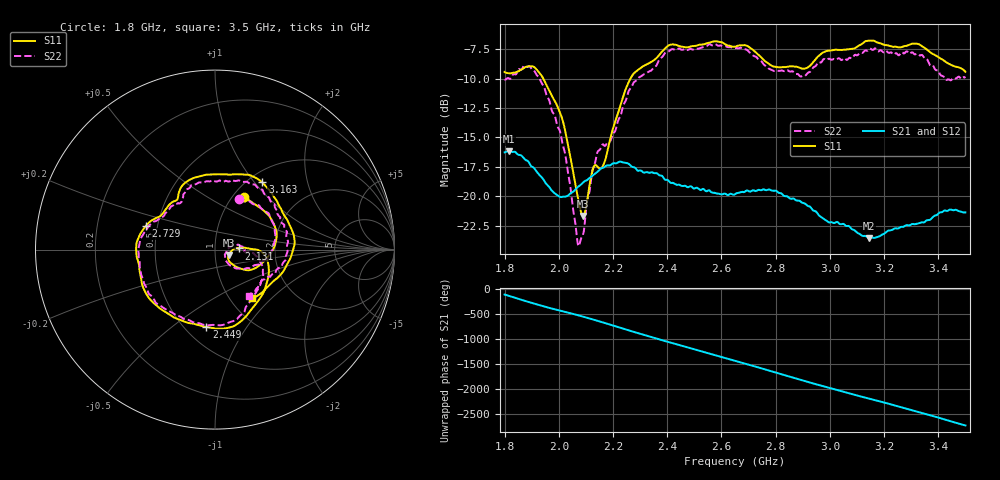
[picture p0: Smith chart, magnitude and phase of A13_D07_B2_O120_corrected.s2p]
! Created with skrf 1.9.0 (http://scikit-rf.org).
# Hz S RI R 50.0
!freq ReS11 ImS11 ReS21 ImS21 ReS12 ImS12 ReS22 ImS22
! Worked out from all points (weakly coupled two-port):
!   1601 points, 1.8 GHz to 3.5 GHz, reference 50 ohm
!   highest |S21| = -16.18 dB at 1.815 GHz (marker M1); lowest = -23.6 dB at 3.143 GHz (marker M2)
!   lowest |S11| = -21.7 dB at 2.09 GHz (marker M3), VSWR 1.18, Z = 58.2 - j3.45 ohm
!   |S11| at or under -10 dB: 1.943 GHz to 2.264 GHz (321 MHz wide, 15.3 % of centre)
!   |S22| runs from -24.3 to -7.1 dB; largest |S21 - S12| = 0.0029
!   S11 on the Smith chart (normalised r, x): 1.8 GHz: 1.13, +0.75; 2.131 GHz: 1.31, +0.02; 2.449 GHz: 0.63, -0.67; 2.729 GHz: 0.43, +0.14; 3.163 GHz: 1.16, +1.10; 3.5 GHz: 1.27, -0.76
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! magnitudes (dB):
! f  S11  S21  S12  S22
! 1.8 GHz  -9.4  -16.3  -16.3  -10.1
! 1.815 GHz  -9.5  -16.2  -16.2  -10.0
! 1.881 GHz  -9.0  -17.0  -17.0  -9.0
! 1.941 GHz  -9.9  -18.5  -18.5  -10.5
! 2.014 GHz  -13.5  -20.1  -20.1  -15.5
! 2.068 GHz  -19.8  -19.3  -19.3  -23.7
! 2.084 GHz  -21.5  -19.0  -18.9  -23.5
! 2.09 GHz  -21.7  -18.8  -18.9  -23.2
! 2.131 GHz  -17.4  -18.1  -18.1  -17.3
! 2.167 GHz  -17.2  -17.6  -17.5  -15.7
! 2.266 GHz  -9.9  -17.4  -17.4  -10.8
! 2.367 GHz  -8.1  -18.2  -18.1  -8.5
! 2.449 GHz  -7.3  -19.1  -19.1  -7.5
! 2.65 GHz  -7.3  -19.8  -19.8  -7.4
! 2.729 GHz  -7.8  -19.6  -19.6  -8.2
! 2.934 GHz  -8.7  -21.1  -21.1  -9.2
! 3.143 GHz  -6.8  -23.6  -23.5  -7.5
! 3.163 GHz  -6.8  -23.6  -23.5  -7.5
! 3.217 GHz  -7.2  -22.9  -22.9  -7.8
! 3.326 GHz  -7.0  -22.3  -22.3  -7.9
! 3.43 GHz  -8.6  -21.3  -21.2  -10.1
! 3.5 GHz  -9.4  -21.4  -21.4  -9.9
